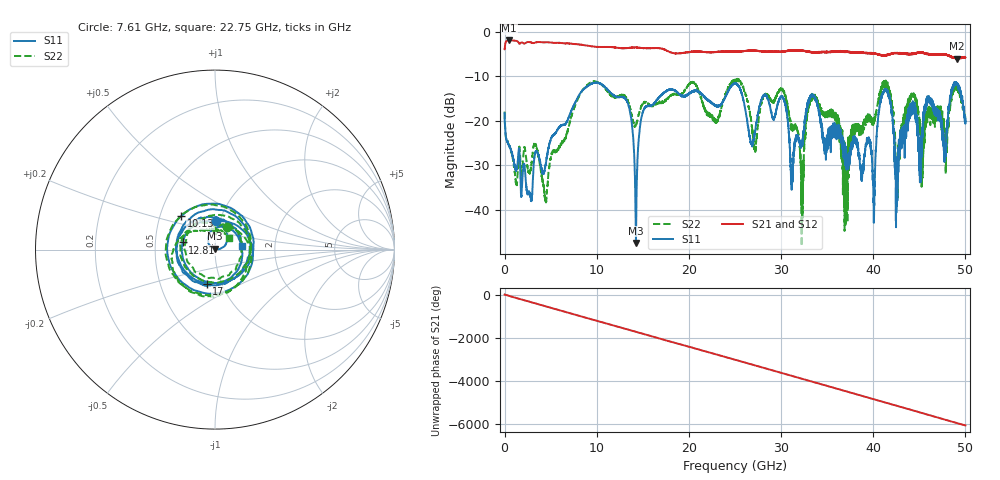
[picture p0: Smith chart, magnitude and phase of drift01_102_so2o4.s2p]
!Created with skrf (http://scikit-rf.org).
# Hz S RI R 50.0
!freq ReS11 ImS11 ReS21 ImS21 ReS12 ImS12 ReS22 ImS22
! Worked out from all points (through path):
!   10001 points, 300 kHz to 50 GHz, reference 50 ohm
!   highest |S21| = -2.00 dB at 490.3 MHz (marker M1); lowest = -6.1 dB at 49.05 GHz (marker M2)
!   group delay of S21, straight-line fit = 336 ps
!   lowest |S11| = -47.4 dB at 14.26 GHz (marker M3), VSWR 1.01, Z = 50 + j0.428 ohm
!   |S11| at or under -10 dB: start of sweep to end of sweep
!   |S22| runs from -48.1 to -10.5 dB; largest |S21 - S12| = 0.023
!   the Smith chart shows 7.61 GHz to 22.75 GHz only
!   S11 on the Smith chart (normalised r, x): 7.61 GHz: 0.96, +0.31; 10.13 GHz: 0.64, +0.26; 12.81 GHz: 0.69, +0.06; 17 GHz: 0.85, -0.33; 22.75 GHz: 1.35, +0.05
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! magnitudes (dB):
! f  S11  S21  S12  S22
! 300 kHz  -18.3  -4.0  -4.0  -17.9
! 490.3 MHz  -25.5  -2.0  -2.0  -25.5
! 4.435 GHz  -30.0  -2.4  -2.4  -37.4
! 7.61 GHz  -16.1  -2.8  -2.8  -16.8
! 8.335 GHz  -13.5  -3.0  -3.0  -13.5
! 10.13 GHz  -11.5  -3.4  -3.5  -11.4
! 12.81 GHz  -14.7  -3.7  -3.7  -14.2
! 14.26 GHz  -47.4  -3.6  -3.6  -21.1
! 16.67 GHz  -14.9  -3.7  -3.7  -15.8
! 17 GHz  -14.2  -3.8  -3.8  -15.8
! 22.75 GHz  -16.5  -4.6  -4.6  -19.9
! 25 GHz  -11.6  -4.5  -4.5  -11.0
! 27.15 GHz  -22.5  -4.3  -4.3  -26.0
! 30.2 GHz  -15.0  -4.5  -4.5  -13.3
! 32.26 GHz  -25.4  -4.3  -4.3  -36.2
! 33.34 GHz  -14.2  -4.6  -4.6  -14.7
! 37.02 GHz  -27.3  -4.5  -4.6  -35.9
! 40.06 GHz  -41.3  -4.9  -4.9  -20.3
! 41.67 GHz  -14.0  -5.1  -5.1  -12.8
! 42.56 GHz  -34.4  -4.8  -4.8  -28.6
! 49.05 GHz  -11.7  -6.1  -6.0  -12.5
! 50 GHz  -20.1  -5.8  -5.8  -19.8
